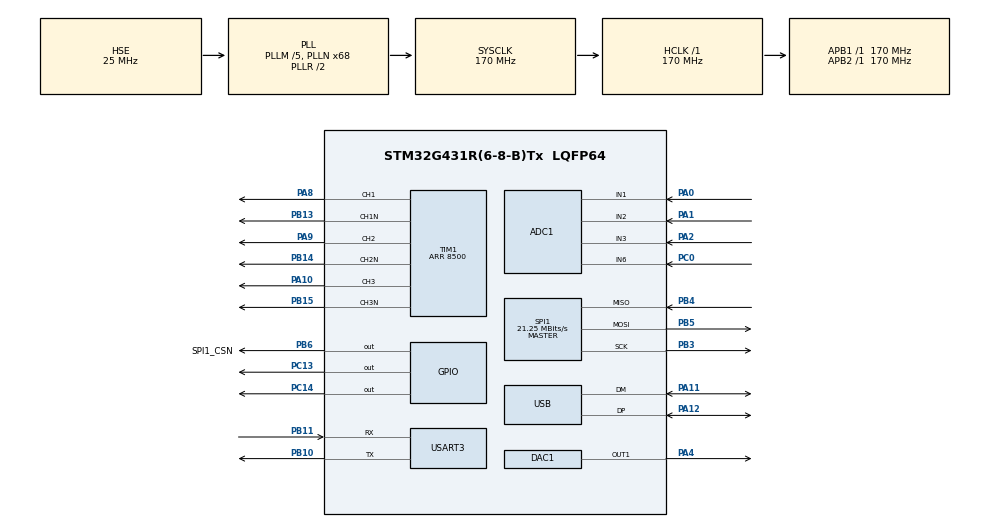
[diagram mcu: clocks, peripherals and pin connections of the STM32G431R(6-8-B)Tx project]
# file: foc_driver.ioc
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ADC1.Channel-0\#ChannelRegularConversion=ADC_CHANNEL_6
ADC1.EnableInjectedConversion=ENABLE
ADC1.ExternalTrigInjecConv=ADC_EXTERNALTRIGINJEC_T1_CC4
ADC1.InjNumberOfConversion=4
ADC1.InjectedChannel-1\#ChannelInjectedConversion=ADC_CHANNEL_1
ADC1.InjectedChannel-2\#ChannelInjectedConversion=ADC_CHANNEL_2
ADC1.InjectedChannel-3\#ChannelInjectedConversion=ADC_CHANNEL_3
ADC1.InjectedChannel-4\#ChannelInjectedConversion=ADC_CHANNEL_6
ADC1.InjectedOffsetNumber-1\#ChannelInjectedConversion=ADC_OFFSET_NONE
ADC1.InjectedOffsetNumber-2\#ChannelInjectedConversion=ADC_OFFSET_NONE
ADC1.InjectedOffsetNumber-3\#ChannelInjectedConversion=ADC_OFFSET_NONE
ADC1.InjectedOffsetNumber-4\#ChannelInjectedConversion=ADC_OFFSET_NONE
ADC1.InjectedRank-1\#ChannelInjectedConversion=1
ADC1.InjectedRank-2\#ChannelInjectedConversion=2
ADC1.InjectedRank-3\#ChannelInjectedConversion=3
ADC1.InjectedRank-4\#ChannelInjectedConversion=4
ADC1.InjectedSamplingTime-1\#ChannelInjectedConversion=ADC_SAMPLETIME_47CYCLES_5
ADC1.InjectedSamplingTime-2\#ChannelInjectedConversion=ADC_SAMPLETIME_47CYCLES_5
ADC1.InjectedSamplingTime-3\#ChannelInjectedConversion=ADC_SAMPLETIME_47CYCLES_5
ADC1.InjectedSamplingTime-4\#ChannelInjectedConversion=ADC_SAMPLETIME_47CYCLES_5
ADC1.NbrOfConversionFlag=1
ADC1.OffsetNumber-0\#ChannelRegularConversion=ADC_OFFSET_NONE
ADC1.Rank-0\#ChannelRegularConversion=1
ADC1.Rank1_Channel=ADC_CHANNEL_1
ADC1.Rank2_Channel=ADC_CHANNEL_2
ADC1.Rank3_Channel=ADC_CHANNEL_3
ADC1.Rank4_Channel=ADC_CHANNEL_6
ADC1.SamplingTime-0\#ChannelRegularConversion=ADC_SAMPLETIME_2CYCLES_5
ADC1.master=1
Mcu.Family=STM32G4
Mcu.Name=STM32G431R(6-8-B)Tx
Mcu.Package=LQFP64
NVIC.ADC1_2_IRQn=true\:0\:0\:false\:false\:true\:true\:true\:true
NVIC.PriorityGroup=NVIC_PRIORITYGROUP_4
NVIC.USB_LP_IRQn=true\:0\:0\:false\:false\:true\:false\:true\:true
PA0.Mode=IN1-Single-Ended
PA0.Signal=ADC1_IN1
PA1.Mode=IN2-Single-Ended
PA1.Signal=ADC1_IN2
PA10.Signal=S_TIM1_CH3
PA11.Mode=Device
PA11.Signal=USB_DM
PA12.Mode=Device
PA12.Signal=USB_DP
PA13.Mode=Serial_Wire
PA13.Signal=SYS_JTMS-SWDIO
PA14.Mode=Serial_Wire
PA14.Signal=SYS_JTCK-SWCLK
PA2.Mode=IN3-Single-Ended
PA2.Signal=ADC1_IN3
PA4.Signal=COMP_DAC11_group
PA8.Signal=S_TIM1_CH1
PA9.Signal=S_TIM1_CH2
PB10.Mode=Asynchronous
PB10.Signal=USART3_TX
PB11.Mode=Asynchronous
PB11.Signal=USART3_RX
PB13.Mode=PWM Generation1 CH1 CH1N
PB13.Signal=TIM1_CH1N
PB14.Mode=PWM Generation2 CH2 CH2N
PB14.Signal=TIM1_CH2N
PB15.Mode=PWM Generation3 CH3 CH3N
PB15.Signal=TIM1_CH3N
PB3.Mode=Full_Duplex_Master
PB3.Signal=SPI1_SCK
PB4.Mode=Full_Duplex_Master
PB4.Signal=SPI1_MISO
PB5.Mode=Full_Duplex_Master
PB5.Signal=SPI1_MOSI
PB6.GPIO_Label=SPI1_CSN
PB6.Signal=GPIO_Output
PC0.Mode=IN6-Single-Ended
PC0.Signal=ADC1_IN6
PC13.Signal=GPIO_Output
PC14-OSC32_IN.Signal=GPIO_Output
PF0-OSC_IN.Mode=HSE-External-Oscillator
PF0-OSC_IN.Signal=RCC_OSC_IN
PF1-OSC_OUT.Mode=HSE-External-Oscillator
PF1-OSC_OUT.Signal=RCC_OSC_OUT
ProjectManager.HeapSize=0x200
ProjectManager.StackSize=0x400
ProjectManager.TargetToolchain=MDK-ARM V5.32
RCC.ADC12Freq_Value=170000000
RCC.AHBFreq_Value=170000000
RCC.APB1Freq_Value=170000000
RCC.APB1TimFreq_Value=170000000
RCC.APB2Freq_Value=170000000
RCC.APB2TimFreq_Value=170000000
RCC.CK48CLockSelection=RCC_USBCLKSOURCE_HSI48
RCC.CortexFreq_Value=170000000
RCC.EXTERNAL_CLOCK_VALUE=12288000
RCC.HCLKFreq_Value=170000000
RCC.HSE_VALUE=25000000
RCC.HSI48_VALUE=48000000
RCC.HSI_VALUE=16000000
RCC.LSE_VALUE=32768
RCC.PLLM=RCC_PLLM_DIV5
RCC.PLLN=68
RCC.PLLQ=RCC_PLLQ_DIV6
RCC.PLLSourceVirtual=RCC_PLLSOURCE_HSE
RCC.SYSCLKFreq_VALUE=170000000
RCC.SYSCLKSource=RCC_SYSCLKSOURCE_PLLCLK
RCC.USBFreq_Value=48000000
RCC.VCOOutputFreq_Value=340000000
SH.COMP_DAC11_group.0=DAC1_OUT1,DAC_OUT1
SH.S_TIM1_CH1.0=TIM1_CH1,PWM Generation1 CH1 CH1N
SH.S_TIM1_CH2.0=TIM1_CH2,PWM Generation2 CH2 CH2N
SH.S_TIM1_CH3.0=TIM1_CH3,PWM Generation3 CH3 CH3N
SPI1.BaudRatePrescaler=SPI_BAUDRATEPRESCALER_8
SPI1.CLKPhase=SPI_PHASE_2EDGE
SPI1.CLKPolarity=SPI_POLARITY_HIGH
SPI1.CalculateBaudRate=21.25 MBits/s
SPI1.DataSize=SPI_DATASIZE_8BIT
SPI1.Direction=SPI_DIRECTION_2LINES
SPI1.Mode=SPI_MODE_MASTER
SPI1.VirtualType=VM_MASTER
TIM1.Channel-PWM\ Generation1\ CH1\ CH1N=TIM_CHANNEL_1
TIM1.Channel-PWM\ Generation2\ CH2\ CH2N=TIM_CHANNEL_2
TIM1.Channel-PWM\ Generation3\ CH3\ CH3N=TIM_CHANNEL_3
TIM1.Channel-PWM\ Generation4\ No\ Output=TIM_CHANNEL_4
TIM1.CounterMode=TIM_COUNTERMODE_CENTERALIGNED1
TIM1.PeriodNoDither=8500
TIM1.PulseNoDither_4=5
USART3.VirtualMode-Asynchronous=VM_ASYNC
USB_DEVICE.CLASS_NAME_FS=CDC
USB_DEVICE.VirtualMode=Cdc
USB_DEVICE.VirtualModeFS=Cdc_FS
VP_SYS_VS_DBSignals.Mode=DisableDeadBatterySignals
VP_TIM1_VS_no_output4.Mode=PWM Generation4 No Output
VP_USB_DEVICE_VS_USB_DEVICE_CDC_FS.Mode=CDC_FS
board=custom

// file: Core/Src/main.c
/* USER CODE BEGIN Header */
/**
  ******************************************************************************
  * @file           : main.c
  * @brief          : Main program body
  ******************************************************************************
  * @attention
  *
  * Copyright (c) 2023 STMicroelectronics.
  * All rights reserved.
  *
  * This software is licensed under terms that can be found in the LICENSE file
  * in the root directory of this software component.
  * If no LICENSE file comes with this software, it is provided AS-IS.
  *
  ******************************************************************************
  */
/* USER CODE END Header */
#include "main.h"
#include "adc.h"
#include "dac.h"
#include "spi.h"
#include "tim.h"
#include "usart.h"
#include "usb_device.h"
#include "gpio.h"

/* USER CODE BEGIN Includes */
#include "usbd_cdc_if.h"
#include "math.h"
#include "vofa.h"

#include "adc_driver.h"
#include "led_driver.h"

#include "foc_control.h"
#include "foc_driver.h"
#include "pid.h"
#include "mt6825.h"
/* USER CODE END Includes */

void SystemClock_Config(void);

int main(void)
{

  /* MCU Configuration--------------------------------------------------------*/

  /* Reset of all peripherals, Initializes the Flash interface and the Systick. */
  HAL_Init();

  /* Configure the system clock */
  SystemClock_Config();

  /* USER CODE BEGIN SysInit */
	uint32_t time;
  /* USER CODE END SysInit */

  /* Initialize all configured peripherals */
  MX_GPIO_Init();
  MX_USB_Device_Init();
  MX_ADC1_Init();
  MX_TIM1_Init();
  MX_USART3_UART_Init();
  MX_DAC1_Init();
  MX_SPI1_Init();
  /* USER CODE BEGIN 2 */
	adc_driver_init();

	led_driver_init();

	motor_foc_para_init();

	HAL_DAC_SetValue(&hdac1, DAC_CHANNEL_1, DAC_ALIGN_12B_R, 2048);  //设置DAC输出值

	HAL_DAC_Start(&hdac1, DAC_CHANNEL_1);

	HAL_TIM_PWM_Start(&htim1,TIM_CHANNEL_4);
	TIM1->CCR4 = 8450;

	encoder_init(&mt6825_encoder);

  /* USER CODE END 2 */

  /* Infinite loop */
  /* USER CODE BEGIN WHILE */
  while (1)
  {
		if(HAL_GetTick() - time > 200)
		{
			led_toggle(led_net_red|led_net_blue);
			time = HAL_GetTick();
		}

//		vofa_start();

    /* USER CODE END WHILE */

  }
}

void SystemClock_Config(void)
{
  RCC_OscInitTypeDef RCC_OscInitStruct = {0};
  RCC_ClkInitTypeDef RCC_ClkInitStruct = {0};

  /** Configure the main internal regulator output voltage
  */
  HAL_PWREx_ControlVoltageScaling(PWR_REGULATOR_VOLTAGE_SCALE1_BOOST);

  /** Initializes the RCC Oscillators according to the specified parameters
  * in the RCC_OscInitTypeDef structure.
  */
  RCC_OscInitStruct.OscillatorType = RCC_OSCILLATORTYPE_HSI48|RCC_OSCILLATORTYPE_HSE;
  RCC_OscInitStruct.HSEState = RCC_HSE_ON;
  RCC_OscInitStruct.HSI48State = RCC_HSI48_ON;
  RCC_OscInitStruct.PLL.PLLState = RCC_PLL_ON;
  RCC_OscInitStruct.PLL.PLLSource = RCC_PLLSOURCE_HSE;
  RCC_OscInitStruct.PLL.PLLM = RCC_PLLM_DIV5;
  RCC_OscInitStruct.PLL.PLLN = 68;
  RCC_OscInitStruct.PLL.PLLP = RCC_PLLP_DIV2;
  RCC_OscInitStruct.PLL.PLLQ = RCC_PLLQ_DIV6;
  RCC_OscInitStruct.PLL.PLLR = RCC_PLLR_DIV2;
  if (HAL_RCC_OscConfig(&RCC_OscInitStruct) != HAL_OK)
  {
    Error_Handler();
  }

  /** Initializes the CPU, AHB and APB buses clocks
  */
  RCC_ClkInitStruct.ClockType = RCC_CLOCKTYPE_HCLK|RCC_CLOCKTYPE_SYSCLK
                              |RCC_CLOCKTYPE_PCLK1|RCC_CLOCKTYPE_PCLK2;
  RCC_ClkInitStruct.SYSCLKSource = RCC_SYSCLKSOURCE_PLLCLK;
  RCC_ClkInitStruct.AHBCLKDivider = RCC_SYSCLK_DIV1;
  RCC_ClkInitStruct.APB1CLKDivider = RCC_HCLK_DIV1;
  RCC_ClkInitStruct.APB2CLKDivider = RCC_HCLK_DIV1;

  if (HAL_RCC_ClockConfig(&RCC_ClkInitStruct, FLASH_LATENCY_4) != HAL_OK)
  {
    Error_Handler();
  }
}

void Error_Handler(void)
{
  __disable_irq();
  while (1)
  {
  }
}
